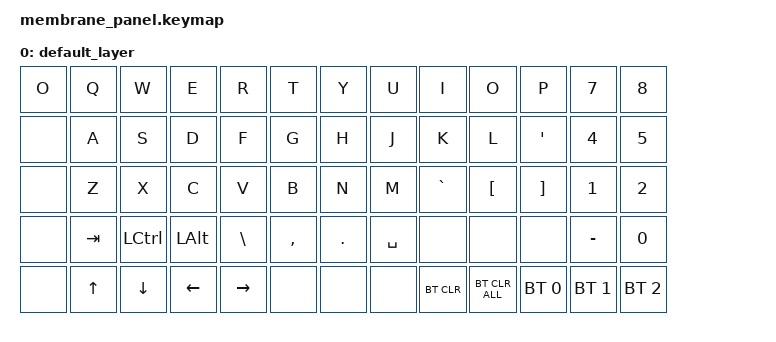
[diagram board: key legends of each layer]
#include "membrane-panel-layouts.dtsi"
#include <behaviors.dtsi>
#include <dt-bindings/zmk/keys.h>
#include <dt-bindings/zmk/bt.h>

/ {
    keymap {
        compatible = "zmk,keymap";

        default_layer { // Layer 0
            // -------------------------------------
            // |     Z     |     M     |     K     |
            // |     A     |     B     |     C     |
            // |     D     |     E     |     F     |
            bindings = <
                &kp O   &kp Q	&kp W		&kp E		&kp R		&kp T		&kp Y	&kp U		&kp I		&kp O		&kp P		&kp N7		&kp N8
                &none	&kp A	&kp S		&kp D		&kp F		&kp G		&kp H	&kp J		&kp K		&kp L		&kp SQT		&kp N4		&kp N5
                &none	&kp Z	&kp X		&kp C		&kp V		&kp B		&kp N	&kp M		&kp GRAVE	&kp LBKT	&kp RBKT	&kp N1		&kp N2
				&none	&kp TAB	&kp LCTRL	&kp LALT	&kp BSLH	&kp COMMA	&kp DOT	&kp SPACE	&none		&none		&none		&kp MINUS	&kp N0
				&none	&kp UP	&kp DOWN	&kp LEFT	&kp RIGHT	&none		&none	&none		&bt BT_CLR	&bt BT_CLR_ALL		&bt BT_SEL 0 	&bt BT_SEL 1 	&bt BT_SEL 2
            >;
        };
    };
 };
